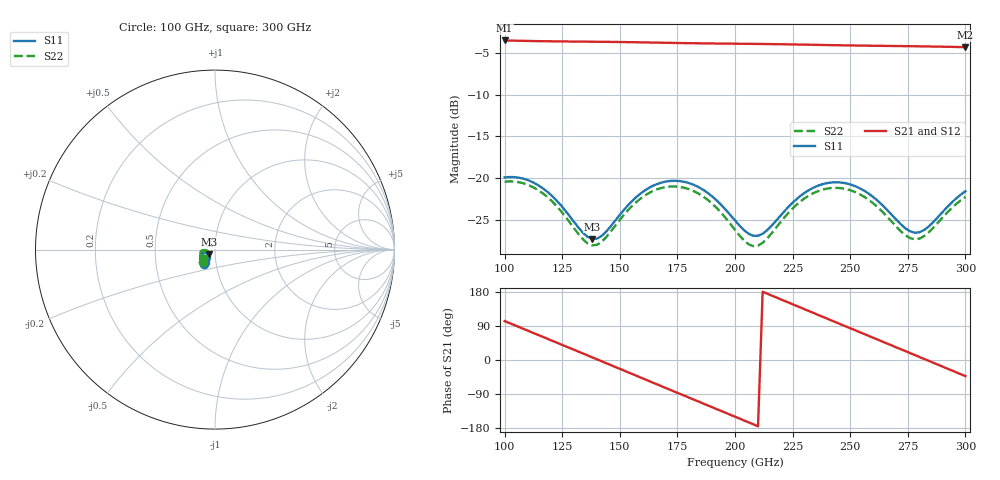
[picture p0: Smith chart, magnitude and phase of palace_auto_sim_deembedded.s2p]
! Created with skrf 1.11.0 (http://scikit-rf.org).
# GHz S DB R 50.0
!freq dBS11 angS11 dBS21 angS21 dBS12 angS12 dBS22 angS22
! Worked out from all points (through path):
!   101 points, 100 GHz to 300 GHz, reference 50 ohm
!   highest |S21| = -3.50 dB at 100 GHz (marker M1); lowest = -4.3 dB at 300 GHz (marker M2)
!   group delay of S21, straight-line fit = 7.02 ps
!   lowest |S11| = -27.3 dB at 138 GHz (marker M3), VSWR 1.09, Z = 46.6 - j2.43 ohm
!   |S11| at or under -10 dB: start of sweep to end of sweep
!   |S22| runs from -28.2 to -20.4 dB; largest |S21 - S12| = 1.1e-13
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100  -19.93 -128.4  -3.50 102.8  -3.50 102.8  -20.43 -132.9
108  -20.06 -141.9  -3.55 82.6  -3.55 82.6  -20.61 -147.1
116  -21.11 -153.9  -3.59 62.5  -3.59 62.5  -21.71 -159.7
126  -23.78 -162.0  -3.62 37.4  -3.62 37.4  -24.49 -168.4
134  -26.55 -154.1  -3.64 17.2  -3.64 17.2  -27.35 -160.5
138  -27.29 -143.0  -3.65 7.1  -3.65 7.1  -28.07 -149.1
152  -23.74 -119.2  -3.70 -28.4  -3.70 -28.4  -24.34 -126.4
168  -20.54 -134.9  -3.77 -68.9  -3.77 -68.9  -21.19 -144.0
176  -20.36 -146.4  -3.81 -89.1  -3.81 -89.1  -21.06 -156.3
184  -21.06 -157.2  -3.85 -109.3  -3.85 -109.3  -21.83 -167.9
200  -25.08 -163.9  -3.89 -149.6  -3.89 -149.6  -26.21 -175.3
208  -26.92 -147.8  -3.91 -169.9  -3.91 -169.9  -28.16 -157.2
216  -25.68 -128.6  -3.94 169.9  -3.94 169.9  -26.58 -137.2
224  -23.23 -124.6  -3.97 149.6  -3.97 149.6  -23.92 -134.5
234  -21.16 -132.5  -4.02 124.3  -4.02 124.3  -21.81 -144.0
242  -20.52 -142.5  -4.06 104.1  -4.06 104.1  -21.19 -155.0
250  -20.76 -152.8  -4.10 83.9  -4.10 83.9  -21.45 -166.1
258  -21.86 -161.2  -4.13 63.7  -4.13 63.7  -22.60 -175.2
268  -24.40 -163.5  -4.17 38.5  -4.17 38.5  -25.22 -178.0
280  -26.50 -140.6  -4.21 8.1  -4.21 8.1  -27.26 -155.0
290  -24.10 -124.5  -4.25 -17.2  -4.25 -17.2  -24.76 -140.2
300  -21.58 -127.5  -4.31 -42.5  -4.31 -42.5  -22.26 -144.7
